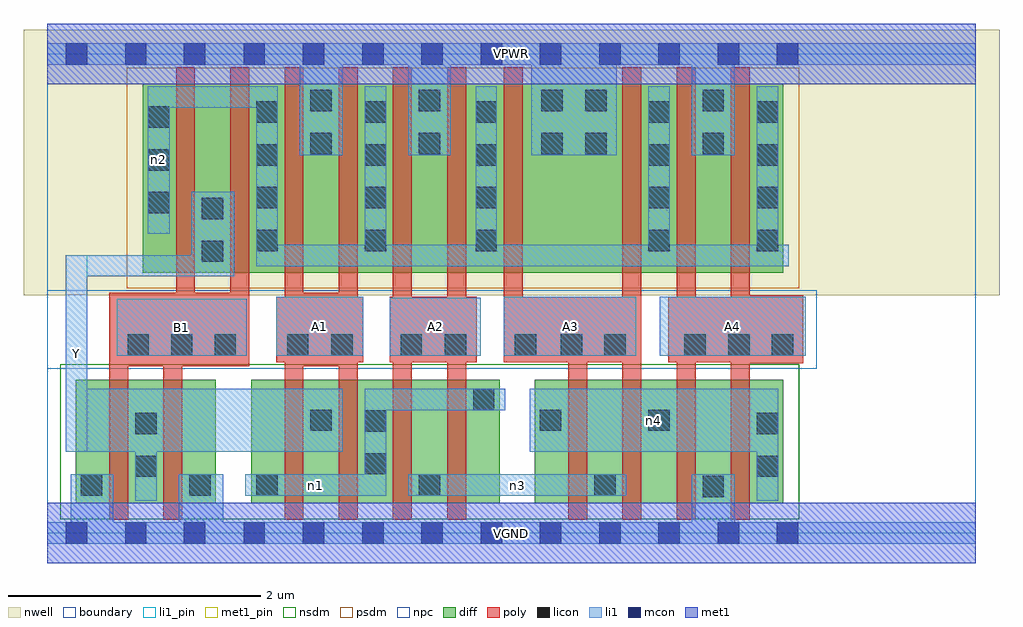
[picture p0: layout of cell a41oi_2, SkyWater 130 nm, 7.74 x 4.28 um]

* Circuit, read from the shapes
.subckt a41oi_2 A1 A2 A3 A4 B1 VGND VPWR Y n1 n2 n3 n4
XM1 Y B1 VGND VSUBS sky130_fd_pr__nfet_01v8 w=0.98 l=0.15 m=2
XM2 Y A1 n1 VSUBS sky130_fd_pr__nfet_01v8 w=0.98 l=0.15 m=2
XM3 n3 A2 n1 VSUBS sky130_fd_pr__nfet_01v8 w=0.98 l=0.15 m=2
XM4 n3 A3 n4 VSUBS sky130_fd_pr__nfet_01v8 w=0.98 l=0.15 m=2
XM5 VGND A4 n4 VSUBS sky130_fd_pr__nfet_01v8 w=0.98 l=0.15 m=2
XM6 Y B1 n2 n5 sky130_fd_pr__pfet_01v8 w=1.5 l=0.15 m=2
XM7 VPWR A1 n2 n5 sky130_fd_pr__pfet_01v8 w=1.5 l=0.15 m=2
XM8 VPWR A2 n2 n5 sky130_fd_pr__pfet_01v8 w=1.5 l=0.15 m=2
XM9 VPWR A3 n2 n5 sky130_fd_pr__pfet_01v8 w=1.5 l=0.15 m=2
XM10 VPWR A4 n2 n5 sky130_fd_pr__pfet_01v8 w=1.5 l=0.15 m=2
.ends

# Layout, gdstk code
import gdstk
lib = gdstk.Library(unit=1e-6, precision=1e-09)
def R(c, l, rs):  # rectangles x0, y0, x1, y1
    for r in rs: c.add(gdstk.rectangle(r[:2], r[2:], *l))
def A(c, l, x, y, w, h, nx, ny, dx, dy):  # array of equal rectangles
    R(c, l, [(x+i*dx, y+j*dy, x+i*dx+w, y+j*dy+h) for i in range(nx) for j in range(ny)])
nwell = (64, 20)
diff = (65, 20)
poly = (66, 20)
licon = (66, 44)
li1_pin = (67, 16)
li1 = (67, 20)
mcon = (67, 44)
met1_pin = (68, 16)
met1 = (68, 20)
nsdm = (93, 44)
psdm = (94, 20)
npc = (95, 20)
boundary = (235, 4)

a41oi_2 = lib.new_cell('a41oi_2')
R(a41oi_2, nwell, [(-0.19,1.885,7.55,3.99), (0,1.885,7.36,3.99)])
R(a41oi_2, diff, [(0.225,0.235,1.335,1.215), (1.615,0.235,3.585,1.215), (3.865,0.235,5.835,1.215), (0.755,2.065,5.835,3.565)])
A(a41oi_2, poly, 1.88, 0.105, 0.15, 3.59, 4, 1, 0.43, 0)
A(a41oi_2, poly, 4.56, 0.105, 0.15, 3.59, 3, 1, 0.43, 0)
R(a41oi_2, poly, [(0.49,0.105,0.64,1.905), (0.92,0.105,1.07,1.905), (4.13,0.105,4.28,1.875), (0.49,1.325,1.6,1.905), (1.02,1.325,1.17,3.695), (1.45,1.325,1.6,3.695), (1.88,1.325,2.46,1.905), (5.42,1.345,5.995,1.885), (1.815,1.355,2.505,1.875), (2.715,1.355,3.405,1.875), (3.62,1.355,4.71,1.875), (3.62,1.355,3.77,3.695), (4.925,1.355,5.995,1.875)])
A(a41oi_2, licon, 0.635, 1.405, 0.17, 0.17, 3, 1, 0.345, 0)
A(a41oi_2, licon, 1.655, 2.235, 0.17, 0.17, 1, 4, 0, 0.34)
A(a41oi_2, licon, 2.515, 2.235, 0.17, 0.17, 1, 4, 0, 0.34)
A(a41oi_2, licon, 3.395, 2.235, 0.17, 0.17, 1, 4, 0, 0.34)
A(a41oi_2, licon, 4.765, 2.235, 0.17, 0.17, 1, 4, 0, 0.34)
A(a41oi_2, licon, 5.625, 2.235, 0.17, 0.17, 1, 4, 0, 0.34)
A(a41oi_2, licon, 0.795, 2.535, 0.17, 0.17, 1, 3, 0, 0.34)
R(a41oi_2, licon, [(5.195,0.285,5.365,0.455), (0.265,0.295,0.435,0.465), (1.125,0.295,1.295,0.465), (1.655,0.295,1.825,0.465), (2.945,0.295,3.115,0.465), (4.335,0.295,4.505,0.465), (0.695,0.445,0.865,0.615), (5.625,0.445,5.795,0.615), (2.515,0.465,2.685,0.635), (0.695,0.785,0.865,0.955), (5.625,0.785,5.795,0.955), (2.515,0.805,2.685,0.975), (2.085,0.81,2.255,0.98), (3.905,0.81,4.075,0.98), (4.765,0.81,4.935,0.98), (3.375,0.975,3.545,1.145), (1.9,1.405,2.07,1.575), (2.25,1.405,2.42,1.575), (2.8,1.405,2.97,1.575), (3.15,1.405,3.32,1.575), (3.705,1.405,3.875,1.575), (4.07,1.405,4.24,1.575), (4.415,1.405,4.585,1.575), (5.05,1.405,5.22,1.575), (5.4,1.405,5.57,1.575), (5.745,1.405,5.915,1.575), (1.225,2.15,1.395,2.32), (1.225,2.49,1.395,2.66), (2.085,3.005,2.255,3.175), (2.945,3.005,3.115,3.175), (3.915,3.005,4.085,3.175), (4.265,3.005,4.435,3.175), (5.195,3.005,5.365,3.175), (2.085,3.345,2.255,3.515), (2.945,3.345,3.115,3.515), (3.915,3.345,4.085,3.515), (4.265,3.345,4.435,3.515), (5.195,3.345,5.365,3.515)])
R(a41oi_2, li1_pin, [(0.145,0.645,0.315,2.205), (0.55,1.405,1.58,1.86), (1.815,1.405,2.505,1.875), (2.715,1.405,3.435,1.865), (3.62,1.405,4.67,1.875), (4.855,1.405,6.015,1.875)])
R(a41oi_2, li1, [(0,-0.085,7.36,0.085), (0.185,-0.085,0.52,0.465), (1.04,-0.085,1.395,0.465), (5.11,-0.085,5.45,0.465), (0.695,0.255,0.865,1.145), (5.625,0.255,5.795,1.145), (1.57,0.295,2.685,0.465), (2.515,0.295,2.685,1.145), (2.86,0.295,4.59,0.465), (0.145,0.645,2.34,1.145), (0.145,0.645,0.315,2.205), (3.825,0.645,5.795,1.145), (2.515,0.975,3.63,1.145), (0.55,1.405,1.58,1.86), (1.815,1.405,2.505,1.875), (2.715,1.405,3.435,1.865), (3.62,1.405,4.67,1.875), (4.855,1.405,6.015,1.875), (0.145,2.035,1.48,2.205), (1.14,2.035,1.48,2.705), (1.655,2.115,5.88,2.285), (1.655,2.115,1.825,3.545), (2.515,2.115,2.685,3.545), (3.395,2.115,3.565,3.545), (4.765,2.115,4.935,3.545), (5.625,2.115,5.795,3.545), (0.795,2.375,0.97,3.545), (2,2.995,2.34,3.885), (2.86,2.995,3.2,3.885), (3.835,2.995,4.515,3.885), (5.11,2.995,5.45,3.885), (0.795,3.375,1.825,3.545), (0,3.715,7.36,3.885)])
A(a41oi_2, mcon, 1.555, -0.085, 0.17, 0.17, 10, 2, 0.47, 3.8)
R(a41oi_2, mcon, [(0.145,-0.085,0.315,0.085), (0.615,-0.085,0.785,0.085), (1.08,-0.085,1.25,0.085), (0.145,3.715,0.315,3.885), (0.615,3.715,0.785,3.885), (1.08,3.715,1.25,3.885)])
R(a41oi_2, met1_pin, [(0,-0.24,7.36,0.24), (0,3.56,7.36,4.04)])
R(a41oi_2, met1, [(0,-0.24,7.36,0.24), (0,3.56,7.36,4.04)])
R(a41oi_2, nsdm, [(0.1,0.11,5.96,1.34)])
R(a41oi_2, psdm, [(0.63,1.94,5.96,3.69)])
R(a41oi_2, npc, [(0,1.305,6.1,1.925)])
R(a41oi_2, boundary, [(0,0,7.36,3.8)])
a41oi_2.add(gdstk.Label('A1', (2.16,1.64), layer=67, texttype=5))
a41oi_2.add(gdstk.Label('A2', (3.075,1.635), layer=67, texttype=5))
a41oi_2.add(gdstk.Label('A3', (4.145,1.64), layer=67, texttype=5))
a41oi_2.add(gdstk.Label('A4', (5.435,1.64), layer=67, texttype=5))
a41oi_2.add(gdstk.Label('B1', (1.065,1.632), layer=67, texttype=5))
a41oi_2.add(gdstk.Label('Y', (0.23,1.425), layer=67, texttype=5))
a41oi_2.add(gdstk.Label('n3', (3.725,0.38), layer=67, texttype=5))
a41oi_2.add(gdstk.Label('n1', (2.127,0.38), layer=67, texttype=5))
a41oi_2.add(gdstk.Label('n4', (4.81,0.895), layer=67, texttype=5))
a41oi_2.add(gdstk.Label('n2', (0.882,2.96), layer=67, texttype=5))
a41oi_2.add(gdstk.Label('VPWR', (3.68,3.8), layer=68, texttype=5))
a41oi_2.add(gdstk.Label('VGND', (3.68,0), layer=68, texttype=5))
a41oi_2.add(gdstk.Label('A1', (2.16,1.64), layer=67, texttype=16))
a41oi_2.add(gdstk.Label('A2', (3.075,1.635), layer=67, texttype=16))
a41oi_2.add(gdstk.Label('A3', (4.145,1.64), layer=67, texttype=16))
a41oi_2.add(gdstk.Label('A4', (5.435,1.64), layer=67, texttype=16))
a41oi_2.add(gdstk.Label('B1', (1.065,1.632), layer=67, texttype=16))
a41oi_2.add(gdstk.Label('Y', (0.23,1.425), layer=67, texttype=16))
a41oi_2.add(gdstk.Label('VPWR', (3.68,3.8), layer=68, texttype=16))
a41oi_2.add(gdstk.Label('VGND', (3.68,0), layer=68, texttype=16))

lib.write_gds('a41oi_2.gds')
